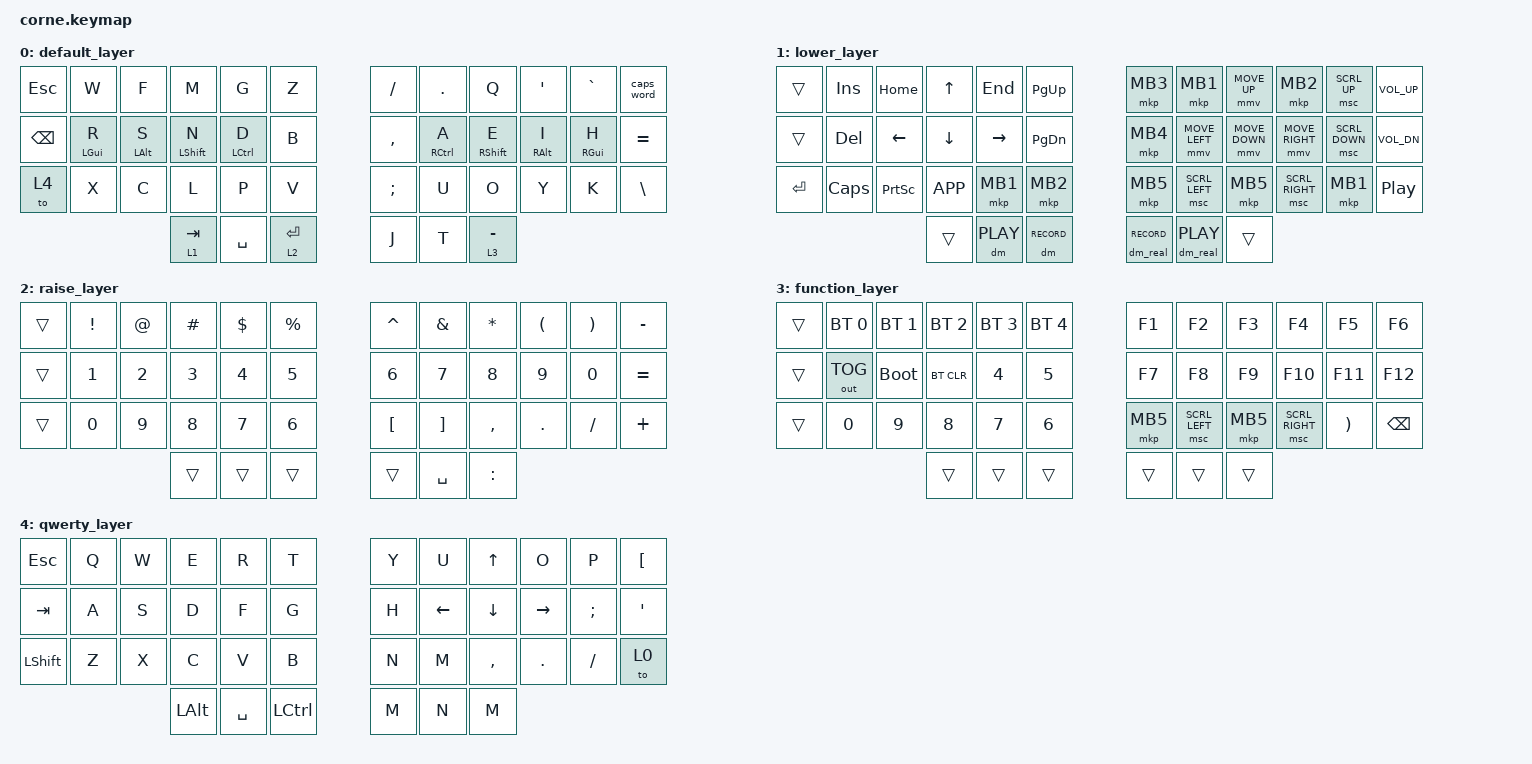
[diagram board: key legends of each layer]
/*
 * Copyright (c) 2020 The ZMK Contributors
 *
 * SPDX-License-Identifier: MIT
 */
#include <dt-bindings/zmk/bt.h>
#include <dt-bindings/zmk/pointing.h>
#include <behaviors.dtsi>
#include <dt-bindings/zmk/keys.h>
#include <dt-bindings/zmk/bt.h>
#include <dt-bindings/zmk/outputs.h>
#include <dt-bindings/zmk/dynamic-macros.h>
&mt {
    flavor = "balanced";
    quick-tap-ms = <150>;
    require-prior-idle-ms = <150>;
};
&lt {
    flavor = "balanced";
    quick-tap-ms = <150>;
    require-prior-idle-ms = <150>;
};
&sk {
    release-after-ms = <2000>;
    quick-release;
};

/ {
    macros {
        dm: dm {
            label = "Dynamic_Macro";
            compatible = "zmk,behavior-dynamic-macro";
            #binding-cells = <1>;
            wait-ms = <1>;
        };
        dm_real: dm_real {
            label = "Dynamic_Macro_Real";
            compatible = "zmk,behavior-dynamic-macro";
            #binding-cells = <1>;
        };
    };
};

/ {
        keymap {
                compatible = "zmk,keymap";

                default_layer {
// -----------------------------------------------------------------------------------------
// |  ESC |  W  |  F  |  M  |  G  |  Z  |   |  /  |  .   |  Q  |  '  |  -  |   =  |
// | BSPC |  R  |  S  |  N  |  D  |  B  |   |  ,  |  A   |  E  |  I  |  H  |  J   |
// |  ENT |  X  |  C  |  L  |  P  |  V  |   |  ;  |  U   |  O  |  Y  |  K  |   `  |
//                    | GUI | LWR | SPC |   | ENT | RSE  | ALT |
                        bindings = <
   &kp ESC   &kp W &kp F &kp M &kp G &kp Z   &kp FSLH &kp DOT  &kp Q     &kp SQT   &kp GRAVE    &caps_word
   &kp BSPC &mt LGUI R &mt LALT S &mt LSHFT N &mt LCTRL D &kp B   &kp COMMA &mt RCTRL A  &mt RSHFT E     &mt RALT I   &mt RGUI H &kp EQUAL
   &to 4 &kp X &kp C &kp L &kp P &kp V   &kp SEMI &kp U  &kp O &kp Y &kp K &kp BSLH
                  &lt 1 TAB &kp SPACE &lt 2 ENTER   &kp J &kp T &lt 3 MINUS
                        >;
                };
                lower_layer {
// -----------------------------------------------------------------------------------------
// |  TAB |  1  |  2  |  3  |  4  |  5  |   |  6  |  7  |  8  |  9  |  0  | BSPC |
// | BTCLR| BT1 | BT2 | BT3 | BT4 | BT5 |   | LFT | DWN |  UP | RGT |     |      |
// | SHFT |     |     |     |     |     |   |     |     |     |     |     |      |
//                    | GUI |     | SPC |   | ENT |     | ALT |
                        bindings = <
   &trans   &kp INS    &kp HOME       &kp UP       &kp END       &kp PG_UP         &mkp MB3 &mkp MB1 &mmv MOVE_UP  &mkp MB2 &msc SCRL_UP &kp C_VOL_UP
   &trans   &kp DEL    &kp LEFT     &kp DOWN &kp RIGHT &kp PG_DN   &mkp MB4  &mmv MOVE_LEFT    &mmv MOVE_DOWN  &mmv MOVE_RIGHT &msc SCRL_DOWN &kp C_VOL_DN
   &kp ENTER   &kp CAPS       &kp PRINTSCREEN       &kp K_APP       &mkp MB1       &mkp MB2         &mkp MB5 &msc SCRL_LEFT  &mkp MB5 &msc SCRL_RIGHT &mkp MB1 &kp C_PLAY_PAUSE
                                    &trans     &dm PLAY       &dm RECORD     &dm_real RECORD  &dm_real PLAY   &trans
                        >;
                };

                raise_layer {
// -----------------------------------------------------------------------------------------
// |  TAB |  !  |  @  |  #  |  $  |  %  |   |  ^  |  &  |  *  |  (  |  )  | BSPC |
// | CTRL |     |     |     |     |     |   |  -  |  =  |  [  |  ]  |  \  |  `   |
// | SHFT |     |     |     |     |     |   |  _  |  +  |  {  |  }  | "|" |  ~   |
//                    | GUI |     | SPC |   | ENT |     | ALT |
                        bindings = <
   &trans &kp EXCL &kp AT   &kp HASH   &kp DOLLAR &kp PERCENT     &kp CARET &kp AMPS  &kp ASTRK &kp LPAR &kp RPAR &kp MINUS
   &trans &kp N1     &kp N2     &kp N3     &kp N4     &kp N5    &kp N6     &kp N7     &kp N8     &kp N9     &kp N0 &kp EQUAL
   &trans &kp N0     &kp N9     &kp N8     &kp N7     &kp N6   &kp LEFT_BRACKET &kp RIGHT_BRACKET  &kp COMMA &kp DOT &kp SLASH &kp PLUS
                             &trans &trans   &trans   &trans   &kp SPACE    &kp COLON
                        >;
                };
                function_layer {
// -----------------------------------------------------------------------------------------
// |  TAB |  !  |  @  |  #  |  $  |  %  |   |  ^  |  &  |  *  |  (  |  )  | BSPC |
// | CTRL |     |     |     |     |     |   |  -  |  =  |  [  |  ]  |  \  |  `   |
// | SHFT |     |     |     |     |     |   |  _  |  +  |  {  |  }  | "|" |  ~   |
//                    | GUI |     | SPC |   | ENT |     | ALT |
                        bindings = <
   &trans &bt BT_SEL 0 &bt BT_SEL 1  &bt BT_SEL 2   &bt BT_SEL 3  &bt BT_SEL 4        &kp F1 &kp F2 &kp F3 &kp F4 &kp F5 &kp F6
   &trans &out OUT_TOG     &bootloader      &bt BT_CLR    &kp N4     &kp N5    &kp F7 &kp F8 &kp F9 &kp F10 &kp F11 &kp F12
   &trans &kp N0     &kp N9     &kp N8     &kp N7     &kp N6    &mkp MB5 &msc SCRL_LEFT  &mkp MB5 &msc SCRL_RIGHT &kp RPAR &kp BSPC
                             &trans &trans   &trans   &trans   &trans    &trans
                        >;
                };
 
                qwerty_layer {
// -----------------------------------------------------------------------------------------
// |  ESC |  W  |  F  |  M  |  G  |  Z  |   |  /  |  .   |  Q  |  '  |  -  |   =  |
// | BSPC |  R  |  S  |  N  |  D  |  B  |   |  ,  |  A   |  E  |  I  |  H  |  J   |
// |  MO3 |  X  |  C  |  L  |  P  |  V  |   |  ;  |  U   |  O  |  Y  |  K  |   `  |
//                    | GUI | LWR | SPC |   | ENT | RSE  | ALT |
                        bindings = <
   &kp ESC   &kp Q &kp W &kp E &kp R &kp T   &kp Y &kp U  &kp UP     &kp O   &kp P    &kp LEFT_BRACKET
   &kp TAB &kp A &kp S &kp D &kp F &kp G   &kp H &kp LEFT  &kp DOWN     &kp RIGHT   &kp SEMI &kp SQT
   &kp LSHFT &kp Z &kp X &kp C &kp V &kp B   &kp N &kp M  &kp COMMA &kp DOT &kp FSLH &to 0
                  &kp LALT &kp SPACE &kp LCTRL   &kp M &kp N &kp M
                        >;
                };
        };
};
